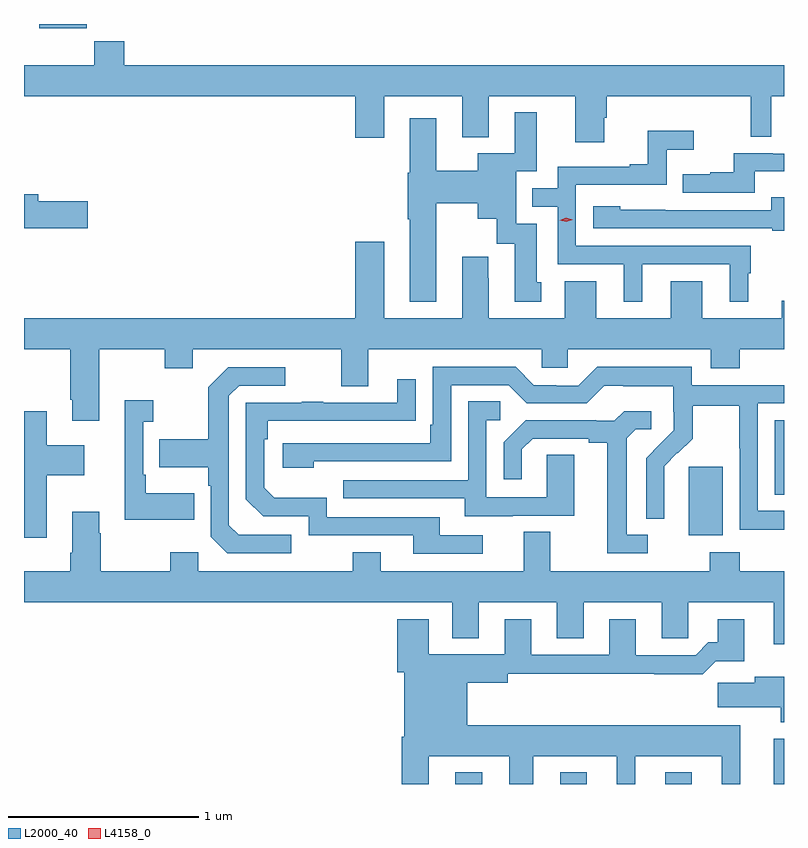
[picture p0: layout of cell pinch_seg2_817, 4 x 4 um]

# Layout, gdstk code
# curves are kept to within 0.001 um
import gdstk
lib = gdstk.Library(unit=1e-6, precision=1e-09)
def R(c, l, rs):  # rectangles x0, y0, x1, y1
    for r in rs: c.add(gdstk.rectangle(r[:2], r[2:], *l))
def A(c, l, x, y, w, h, nx, ny, dx, dy):  # array of equal rectangles
    R(c, l, [(x+i*dx, y+j*dy, x+i*dx+w, y+j*dy+h) for i in range(nx) for j in range(ny)])
def P(c, l, *ps):  # polygons
    for p in ps: c.add(gdstk.Polygon(p, *l))
L2000_40 = (2000, 40)
L4158_0 = (4158, 0)

pinch_seg2_817 = lib.new_cell('pinch_seg2_817')
A(pinch_seg2_817, L2000_40, 870.299, 600.06, 0.14, 0.061, 3, 1, 0.552, 0)
R(pinch_seg2_817, L2000_40, [(871.973,600.06,872.028,600.298), (871.526,601.37,871.705,601.731), (871.979,601.582,872.028,601.975), (868.109,604.038,868.358,604.06)])
P(pinch_seg2_817, L2000_40, [(871.081,603.567),(871.094,603.567),(871.094,603.68),(871.854,603.68),(871.854,603.466),(871.962,603.466),(871.962,603.68),(872.028,603.68),(872.028,603.844),(868.556,603.844),(868.556,603.968),(868.399,603.968),(868.399,603.844),(868.028,603.844),(868.028,603.68),(869.771,603.68),(869.771,603.462),(869.923,603.462),(869.923,603.68),(870.335,603.68),(870.335,603.464),(870.475,603.464),(870.475,603.68),(870.929,603.68),(870.929,603.438),(871.081,603.438)],
  [(870.199,603.116),(870.416,603.116),(870.416,603.035),(870.515,603.035),(870.515,602.904),(870.611,602.904),(870.611,602.598),(870.751,602.598),(870.751,602.7),(870.727,602.7),(870.727,603.009),(870.618,603.009),(870.618,603.285),(870.727,603.285),(870.727,603.595),(870.611,603.595),(870.611,603.379),(870.416,603.379),(870.416,603.288),(870.199,603.288),(870.199,603.565),(870.059,603.565),(870.059,603.276),(870.047,603.276),(870.047,603.032),(870.059,603.032),(870.059,602.597),(870.199,602.597)],
  [(871.282,602.796),(871.742,602.796),(871.742,602.597),(871.84,602.597),(871.84,602.748),(871.852,602.748),(871.852,602.892),(870.933,602.892),(870.933,603.213),(871.41,603.213),(871.41,603.398),(871.552,603.398),(871.552,603.497),(871.312,603.497),(871.312,603.322),(871.217,603.322),(871.217,603.309),(870.837,603.309),(870.837,603.195),(870.704,603.195),(870.704,603.099),(870.837,603.099),(870.837,602.796),(871.184,602.796),(871.184,602.597),(871.282,602.597)],
  [(871.873,603.284),(872.028,603.284),(872.028,603.378),(871.97,603.378),(871.97,603.381),(871.763,603.381),(871.763,603.28),(871.639,603.28),(871.639,603.268),(871.495,603.268),(871.495,603.171),(871.873,603.171)],
  [(868.363,603.128),(868.102,603.128),(868.102,603.164),(868.028,603.164),(868.028,602.986),(868.363,602.986)],
  [(872.028,603.148),(871.961,603.148),(871.961,603.081),(871.403,603.081),(871.403,603.082),(871.167,603.082),(871.167,603.1),(871.023,603.1),(871.023,602.985),(871.965,602.985),(871.965,602.973),(872.028,602.973)],
  [(870.753,602.25),(870.891,602.25),(870.891,602.348),(871.643,602.348),(871.643,602.249),(871.796,602.249),(871.796,602.348),(872.028,602.348),(872.028,602.603),(872.015,602.603),(872.015,602.512),(871.597,602.512),(871.597,602.707),(871.433,602.707),(871.433,602.512),(871.039,602.512),(871.039,602.707),(870.875,602.707),(870.875,602.512),(870.475,602.512),(870.475,602.723),(870.472,602.723),(870.472,602.836),(870.335,602.836),(870.335,602.512),(869.923,602.512),(869.923,602.914),(869.771,602.914),(869.771,602.512),(868.028,602.512),(868.028,602.348),(868.271,602.348),(868.271,602.083),(868.283,602.083),(868.283,601.971),(868.423,601.971),(868.423,602.348),(868.768,602.348),(868.768,602.249),(868.915,602.249),(868.915,602.348),(869.699,602.348),(869.699,602.154),(869.839,602.154),(869.839,602.348),(870.753,602.348)],
  [(872.028,601.497),(871.89,601.497),(871.89,602.064),(872.028,602.064),(872.028,602.16),(871.542,602.16),(871.542,602.257),(871.045,602.257),(870.945,602.157),(870.83,602.157),(870.83,602.16),(870.711,602.16),(870.615,602.256),(870.18,602.256),(870.18,601.951),(870.167,601.951),(870.167,601.854),(869.391,601.854),(869.391,601.724),(869.552,601.724),(869.552,601.758),(870.276,601.758),(870.276,602.16),(870.579,602.16),(870.675,602.064),(870.99,602.064),(871.083,602.157),(871.183,602.157),(871.183,602.153),(871.446,602.153),(871.446,602.019),(871.448,602.019),(871.448,601.922),(871.302,601.774),(871.302,601.456),(871.398,601.456),(871.397,601.733),(871.467,601.803),(871.47,601.8),(871.547,601.877),(871.547,602.052),(871.792,602.052),(871.792,601.828),(871.794,601.828),(871.794,601.399),(872.028,601.399)],
  [(869.434,601.371),(869.157,601.371),(869.106,601.422),(869.106,602.103),(869.16,602.157),(869.404,602.157),(869.404,602.253),(869.103,602.253),(868.998,602.147),(868.998,601.875),(868.741,601.875),(868.741,601.727),(868.998,601.727),(868.998,601.631),(869.01,601.631),(869.01,601.362),(869.097,601.275),(869.434,601.275)],
  [(870.442,601.368),(870.217,601.368),(870.217,601.464),(869.622,601.464),(869.622,601.567),(869.345,601.567),(869.292,601.62),(869.292,601.874),(869.312,601.874),(869.312,601.971),(870.089,601.972),(870.089,602.191),(869.993,602.191),(869.993,602.067),(869.603,602.067),(869.603,602.072),(869.491,602.072),(869.491,602.067),(869.196,602.067),(869.196,601.56),(869.286,601.47),(869.526,601.47),(869.526,601.368),(870.077,601.368),(870.077,601.272),(870.442,601.272)],
  [(868.925,601.591),(868.669,601.591),(868.669,601.687),(868.656,601.687),(868.656,601.967),(868.708,601.967),(868.708,602.08),(868.559,602.08),(868.559,601.451),(868.925,601.451)],
  [(870.601,601.473),(870.925,601.473),(870.925,601.793),(870.78,601.793),(870.78,601.569),(870.462,601.569),(870.462,601.974),(870.535,601.974),(870.535,602.075),(870.366,602.075),(870.366,601.659),(869.707,601.659),(869.707,601.563),(870.347,601.563),(870.347,601.469),(870.601,601.469)],
  [(871.312,601.371),(871.201,601.371),(871.201,601.879),(871.248,601.926),(871.33,601.926),(871.33,602.023),(871.186,602.023),(871.134,601.971),(871.04,601.971),(871.04,601.974),(870.668,601.974),(870.552,601.858),(870.552,601.665),(870.649,601.665),(870.649,601.821),(870.706,601.878),(871.001,601.878),(871.001,601.856),(871.097,601.856),(871.097,601.275),(871.312,601.275)],
  [(868.147,601.685),(868.345,601.685),(868.345,601.843),(868.147,601.843),(868.147,602.023),(868.028,602.023),(868.028,601.356),(868.147,601.356)],
  [(872.028,601.18),(871.796,601.18),(871.796,601.279),(871.636,601.279),(871.636,601.18),(870.799,601.18),(870.799,601.388),(870.659,601.388),(870.659,601.18),(869.905,601.18),(869.905,601.279),(869.758,601.279),(869.758,601.18),(868.944,601.18),(868.944,601.279),(868.798,601.279),(868.798,601.18),(868.431,601.18),(868.431,601.379),(868.423,601.379),(868.423,601.492),(868.283,601.492),(868.283,601.276),(868.271,601.276),(868.271,601.18),(868.028,601.18),(868.028,601.016),(870.281,601.016),(870.281,600.827),(870.421,600.827),(870.421,601.016),(870.833,601.016),(870.833,600.826),(870.973,600.826),(870.973,601.016),(871.385,601.016),(871.385,600.826),(871.524,600.826),(871.524,601.016),(871.973,601.016),(871.973,600.795),(872.028,600.795)],
  [(870.157,600.206),(870.581,600.206),(870.581,600.06),(870.709,600.06),(870.709,600.206),(871.148,600.206),(871.148,600.06),(871.246,600.06),(871.246,600.206),(871.7,600.206),(871.7,600.06),(871.798,600.06),(871.798,600.37),(870.361,600.37),(870.361,600.593),(870.574,600.593),(870.574,600.64),(871.345,600.64),(871.345,600.638),(871.601,600.638),(871.67,600.707),(871.819,600.707),(871.819,600.928),(871.679,600.928),(871.679,600.805),(871.63,600.805),(871.563,600.738),(871.249,600.738),(871.249,600.928),(871.109,600.928),(871.109,600.741),(870.697,600.741),(870.697,600.928),(870.557,600.928),(870.557,600.742),(870.157,600.742),(870.157,600.928),(869.993,600.928),(869.993,600.648),(870.029,600.648),(870.029,600.31),(870.017,600.31),(870.017,600.06),(870.157,600.06)],
  [(872.028,600.625),(871.874,600.625),(871.874,600.593),(871.68,600.593),(871.68,600.464),(872.012,600.464),(872.012,600.384),(872.028,600.384)])
P(pinch_seg2_817, L4158_0, [(870.883,603.019),(870.849,603.026),(870.848,603.027),(870.849,603.027),(870.882,603.039),(870.917,603.031),(870.917,603.031),(870.917,603.03)])

lib.write_gds('pinch_seg2_817.gds')
